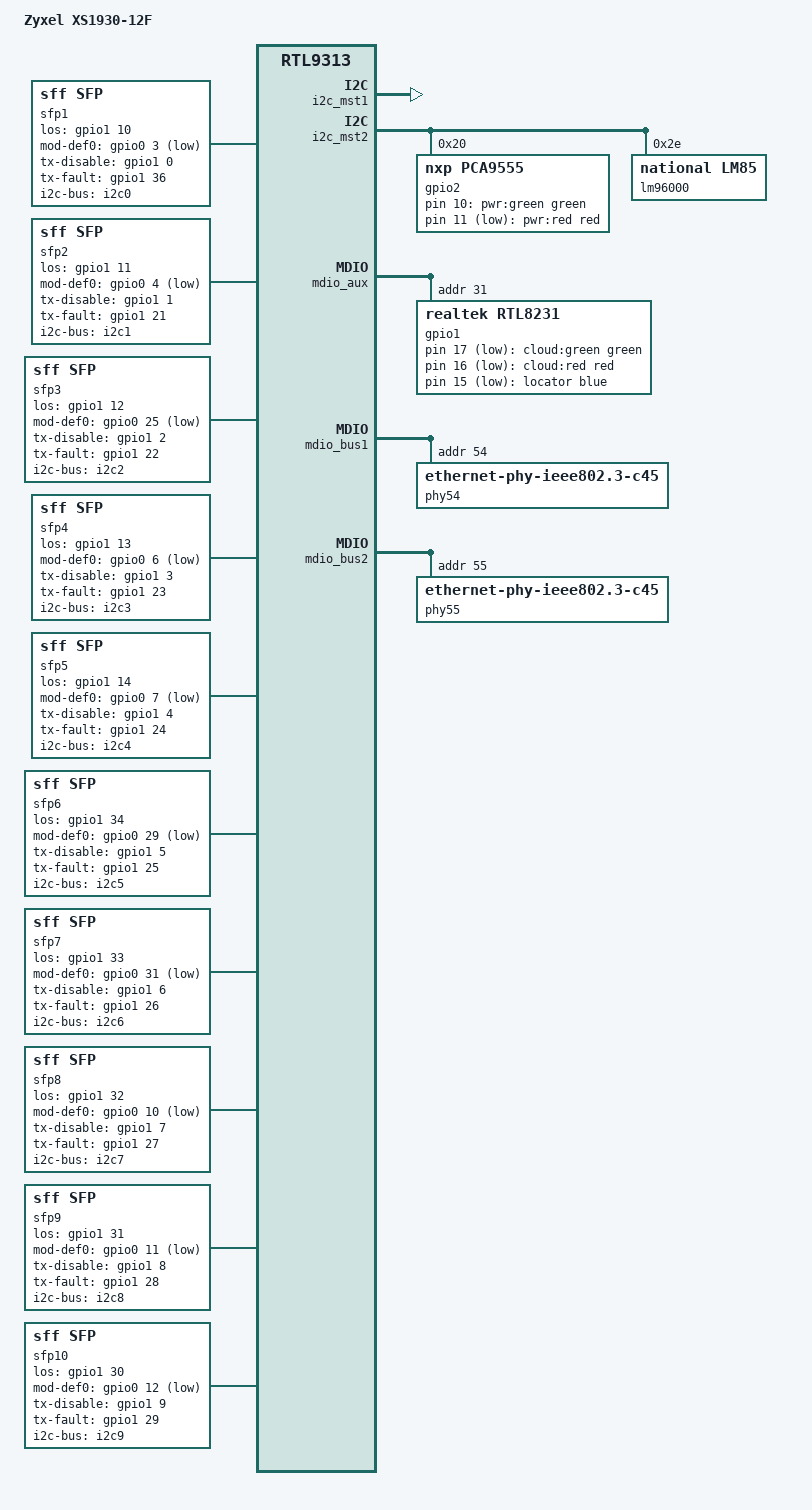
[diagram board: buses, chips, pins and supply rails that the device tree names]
// SPDX-License-Identifier: GPL-2.0-or-later
/dts-v1/;

#include "rtl9313_zyxel_xs1930.dtsi"

#include <dt-bindings/input/input.h>
#include <dt-bindings/gpio/gpio.h>
#include <dt-bindings/leds/common.h>
#include <dt-bindings/mux/mux.h>

/ {
	compatible = "zyxel,xs1930-12f", "realtek,rtl9313-soc";
	model = "Zyxel XS1930-12F";

	/*
	aliases {
		led-boot = &led_sys;
		led-failsafe = &led_sys;
		led-running = &led_sys;
		led-upgrade = &led_sys;
	};
	*/

	leds {
		compatible = "gpio-leds";
		pinctrl-names = "default";
		pinctrl-0 = <&pinmux_enable_sys_led>;

		led_pwr_green: led-0 {
			reg = <0>;
			color = <LED_COLOR_ID_GREEN>;
			default-state = "on";
			gpios = <&gpio2 10 GPIO_ACTIVE_HIGH>;
			label = "pwr:green";
		};
		led_pwr_red: led-1 {
			reg = <1>;
			color = <LED_COLOR_ID_RED>;
			gpios = <&gpio2 11 GPIO_ACTIVE_LOW>;
			label = "pwr:red";
		};
		/*led_sys_red: led-2 {
			reg = <2>;
			color = <LED_COLOR_ID_RED>;
			gpios = <&gpio0 30 GPIO_ACTIVE_LOW>;
			label = "sys:red";
		};
		led_sys_green: led-3 {
			reg = <3>;
			color = <LED_COLOR_ID_GREEN>;
			default-state = "on";
			function = LED_FUNCTION_ACTIVITY;
			gpios = <&gpio0 0 GPIO_ACTIVE_LOW>;
			label = "sys:green";
		};*/
		led_cloud_green: led-4 {
			reg = <4>;
			color = <LED_COLOR_ID_GREEN>;
			gpios = <&gpio1 17 GPIO_ACTIVE_LOW>;
			label = "cloud:green";
		};
		led_cloud_red: led-5 {
			reg = <5>;
			color = <LED_COLOR_ID_RED>;
			gpios = <&gpio1 16 GPIO_ACTIVE_LOW>;
			label = "cloud:red";
		};
		led_locator: led-6 {
			reg = <6>;
			color = <LED_COLOR_ID_BLUE>;
			function = LED_FUNCTION_INDICATOR;
			gpios = <&gpio1 15 GPIO_ACTIVE_LOW>;
			label = "locator";
		};
	};

	led_set: led_set@0 {
		compatible = "realtek,rtl9300-leds";
		active-low;

		/* SFP ports */
		led_set0 = <(RTL93XX_LED_SET_10G | RTL93XX_LED_SET_LINK | RTL93XX_LED_SET_ACT)
			    (RTL93XX_LED_SET_1G | RTL93XX_LED_SET_LINK | RTL93XX_LED_SET_ACT)>;
		/* Base-T ports */
		led_set1 = <(RTL93XX_LED_SET_10G | RTL93XX_LED_SET_5G | RTL93XX_LED_SET_2P5G | RTL93XX_LED_SET_LINK | RTL93XX_LED_SET_ACT)
			    (RTL93XX_LED_SET_2P5G | RTL93XX_LED_SET_1G | RTL93XX_LED_SET_100M | RTL93XX_LED_SET_LINK | RTL93XX_LED_SET_ACT)
			    (RTL93XX_LED_SET_5G | RTL93XX_LED_SET_100M | RTL93XX_LED_SET_LINK | RTL93XX_LED_SET_ACT)>;
	};

	sfp1: sfp-p1 {
		compatible = "sff,sfp";
		i2c-bus = <&i2c0>;
		los-gpio = <&gpio1 10 GPIO_ACTIVE_HIGH>;
		mod-def0-gpio = <&gpio0 3 GPIO_ACTIVE_LOW>;
		tx-disable-gpio = <&gpio1 0 GPIO_ACTIVE_HIGH>;
		tx-fault-gpio = <&gpio1 36 GPIO_ACTIVE_HIGH>;
	};

	sfp2: sfp-p2 {
		compatible = "sff,sfp";
		i2c-bus = <&i2c1>;
		los-gpio = <&gpio1 11 GPIO_ACTIVE_HIGH>;
		mod-def0-gpio = <&gpio0 4 GPIO_ACTIVE_LOW>;
		tx-disable-gpio = <&gpio1 1 GPIO_ACTIVE_HIGH>;
		tx-fault-gpio = <&gpio1 21 GPIO_ACTIVE_HIGH>;
	};

	sfp3: sfp-p3 {
		compatible = "sff,sfp";
		i2c-bus = <&i2c2>;
		los-gpio = <&gpio1 12 GPIO_ACTIVE_HIGH>;
		mod-def0-gpio = <&gpio0 25 GPIO_ACTIVE_LOW>;
		tx-disable-gpio = <&gpio1 2 GPIO_ACTIVE_HIGH>;
		tx-fault-gpio = <&gpio1 22 GPIO_ACTIVE_HIGH>;
	};

	sfp4: sfp-p4 {
		compatible = "sff,sfp";
		i2c-bus = <&i2c3>;
		los-gpio = <&gpio1 13 GPIO_ACTIVE_HIGH>;
		mod-def0-gpio = <&gpio0 6 GPIO_ACTIVE_LOW>;
		tx-disable-gpio = <&gpio1 3 GPIO_ACTIVE_HIGH>;
		tx-fault-gpio = <&gpio1 23 GPIO_ACTIVE_HIGH>;
	};

	sfp5: sfp-p5 {
		compatible = "sff,sfp";
		i2c-bus = <&i2c4>;
		los-gpio = <&gpio1 14 GPIO_ACTIVE_HIGH>;
		mod-def0-gpio = <&gpio0 7 GPIO_ACTIVE_LOW>;
		tx-disable-gpio = <&gpio1 4 GPIO_ACTIVE_HIGH>;
		tx-fault-gpio = <&gpio1 24 GPIO_ACTIVE_HIGH>;
	};

	sfp6: sfp-p6 {
		compatible = "sff,sfp";
		i2c-bus = <&i2c5>;
		los-gpio = <&gpio1 34 GPIO_ACTIVE_HIGH>;
		mod-def0-gpio = <&gpio0 29 GPIO_ACTIVE_LOW>;
		tx-disable-gpio = <&gpio1 5 GPIO_ACTIVE_HIGH>;
		tx-fault-gpio = <&gpio1 25 GPIO_ACTIVE_HIGH>;
	};

	sfp7: sfp-p7 {
		compatible = "sff,sfp";
		i2c-bus = <&i2c6>;
		los-gpio = <&gpio1 33 GPIO_ACTIVE_HIGH>;
		mod-def0-gpio = <&gpio0 31 GPIO_ACTIVE_LOW>;
		tx-disable-gpio = <&gpio1 6 GPIO_ACTIVE_HIGH>;
		tx-fault-gpio = <&gpio1 26 GPIO_ACTIVE_HIGH>;
	};

	sfp8: sfp-p8 {
		compatible = "sff,sfp";
		i2c-bus = <&i2c7>;
		los-gpio = <&gpio1 32 GPIO_ACTIVE_HIGH>;
		mod-def0-gpio = <&gpio0 10 GPIO_ACTIVE_LOW>;
		tx-disable-gpio = <&gpio1 7 GPIO_ACTIVE_HIGH>;
		tx-fault-gpio = <&gpio1 27 GPIO_ACTIVE_HIGH>;
	};

	sfp9: sfp-p9 {
		compatible = "sff,sfp";
		i2c-bus = <&i2c8>;
		los-gpio = <&gpio1 31 GPIO_ACTIVE_HIGH>;
		mod-def0-gpio = <&gpio0 11 GPIO_ACTIVE_LOW>;
		tx-disable-gpio = <&gpio1 8 GPIO_ACTIVE_HIGH>;
		tx-fault-gpio = <&gpio1 28 GPIO_ACTIVE_HIGH>;
	};

	sfp10: sfp-p10 {
		compatible = "sff,sfp";
		i2c-bus = <&i2c9>;
		los-gpio = <&gpio1 30 GPIO_ACTIVE_HIGH>;
		mod-def0-gpio = <&gpio0 12 GPIO_ACTIVE_LOW>;
		tx-disable-gpio = <&gpio1 9 GPIO_ACTIVE_HIGH>;
		tx-fault-gpio = <&gpio1 29 GPIO_ACTIVE_HIGH>;
	};
};

&gpio0 {
	pinctrl-names = "default";
	pinctrl-0 = <&pinmux_disable_jtag>,
		    <&pinmux_disable_led_sync>;
};

&i2c_mst1 {
	status = "okay";

	i2c0: i2c@0 {
		reg = <0>;
	};
	i2c1: i2c@1 {
		reg = <1>;
	};
	i2c2: i2c@2 {
		reg = <2>;
	};
	i2c3: i2c@3 {
		reg = <3>;
	};
	i2c4: i2c@4 {
		reg = <4>;
	};
	i2c5: i2c@5 {
		reg = <5>;
	};
};

&i2c_mst2 {
	status = "okay";

	i2c6: i2c@6 {
		reg = <6>;
	};
	i2c7: i2c@7 {
		reg = <7>;
	};
	i2c8: i2c@8 {
		reg = <8>;
	};
	i2c9: i2c@9 {
		reg = <9>;
	};

	i2c11: i2c@b {
		reg = <0xb>;

		gpio2: pca9555@20 {
			compatible = "nxp,pca9555";
			reg = <0x20>;
			gpio-controller;
			#gpio-cells = <2>;

			/* These GPIOs must be held low to activate SFP slots.
			 * Otherwise, neither power, signals nor I2C work.
			 */
			sfp_enable_hog {
				gpio-hog;
				gpios = <0 GPIO_ACTIVE_LOW>, /* SFP1 */
					<1 GPIO_ACTIVE_LOW>, /* SFP2 */
					<2 GPIO_ACTIVE_LOW>, /* SFP3 */
					<3 GPIO_ACTIVE_LOW>, /* SFP4 */
					<4 GPIO_ACTIVE_LOW>, /* SFP5 */
					<5 GPIO_ACTIVE_LOW>, /* SFP6 */
					<6 GPIO_ACTIVE_LOW>, /* SFP7 */
					<7 GPIO_ACTIVE_LOW>, /* SFP8 */
					<8 GPIO_ACTIVE_LOW>, /* SFP9 */
					<9 GPIO_ACTIVE_LOW>; /* SFP10 */
				output-high;
				line-name = "enable-sfp-slots";
			};
		};

		lm96000: lm96000@2e {
			compatible = "national,lm85";
			reg = <0x2e>;
		};
	};
};

&mdio_aux {
	status = "okay";

	gpio1: gpio@1f {
		compatible = "realtek,rtl8231";
		reg = <0x1f>;

		gpio-controller;
		#gpio-cells = <2>;
		gpio-ranges = <&gpio1 0 0 37>;

		led-controller {
			compatible = "realtek,rtl8231-leds";
			status = "disabled";
		};
	};
};

&mdio_ctrl {
	pinctrl-names = "default";
	pinctrl-0 = <&pinmux_enable_mdc_mdio_1>,
		    <&pinmux_enable_mdc_mdio_2>;
};

&mdio_bus1 {
	/* AQR113C */
	phy54: ethernet-phy@54 {
		reg = <54>;
		compatible = "ethernet-phy-ieee802.3-c45";
		realtek,smi-address = <0>;
	};
};

&mdio_bus2 {
	/* AQR113C */
	phy55: ethernet-phy@55 {
		reg = <55>;
		compatible = "ethernet-phy-ieee802.3-c45";
		realtek,smi-address = <8>;
	};
};

&switch0 {
	ports {
		#address-cells = <1>;
		#size-cells = <0>;

		port0: port@0 {
			reg = <0>;
			label = SWITCH_PORT_LABEL(1);
			led-set = <0>;
			pcs-handle = <&serdes2>;
			phy-mode = "1000base-x";
			managed = "in-band-status";
			sfp = <&sfp1>;
		};
		port8: port@8 {
			reg = <8>;
			label = SWITCH_PORT_LABEL(2);
			led-set = <0>;
			pcs-handle = <&serdes3>;
			phy-mode = "1000base-x";
			managed = "in-band-status";
			sfp = <&sfp2>;
		};
		port16: port@16 {
			reg = <16>;
			label = SWITCH_PORT_LABEL(3);
			led-set = <0>;
			pcs-handle = <&serdes4>;
			phy-mode = "1000base-x";
			managed = "in-band-status";
			sfp = <&sfp3>;
		};
		port24: port@24 {
			reg = <24>;
			label = SWITCH_PORT_LABEL(4);
			led-set = <0>;
			pcs-handle = <&serdes5>;
			phy-mode = "1000base-x";
			managed = "in-band-status";
			sfp = <&sfp4>;
		};
		port32: port@32 {
			reg = <32>;
			label = SWITCH_PORT_LABEL(5);
			led-set = <0>;
			pcs-handle = <&serdes6>;
			phy-mode = "1000base-x";
			managed = "in-band-status";
			sfp = <&sfp5>;
		};
		port40: port@40 {
			reg = <40>;
			label = SWITCH_PORT_LABEL(6);
			led-set = <0>;
			pcs-handle = <&serdes7>;
			phy-mode = "1000base-x";
			managed = "in-band-status";
			sfp = <&sfp6>;
		};
		port48: port@48 {
			reg = <48>;
			label = SWITCH_PORT_LABEL(7);
			led-set = <0>;
			pcs-handle = <&serdes8>;
			phy-mode = "1000base-x";
			managed = "in-band-status";
			sfp = <&sfp7>;
		};
		port50: port@50 {
			reg = <50>;
			label = SWITCH_PORT_LABEL(8);
			led-set = <0>;
			pcs-handle = <&serdes9>;
			phy-mode = "1000base-x";
			managed = "in-band-status";
			sfp = <&sfp8>;
		};
		port52: port@52 {
			reg = <52>;
			label = SWITCH_PORT_LABEL(9);
			led-set = <0>;
			pcs-handle = <&serdes10>;
			phy-mode = "1000base-x";
			managed = "in-band-status";
			sfp = <&sfp9>;
		};
		port53: port@53 {
			reg = <53>;
			label = SWITCH_PORT_LABEL(10);
			led-set = <0>;
			pcs-handle = <&serdes11>;
			phy-mode = "1000base-x";
			managed = "in-band-status";
			sfp = <&sfp10>;
		};

		/* Base-T ports */
		port@54 {
			reg = <54>;
			label = SWITCH_PORT_LABEL(11);
			led-set = <1>;
			pcs-handle = <&serdes12>;
			phy-handle = <&phy54>;
			phy-mode = "usxgmii";
		};
		port@55 {
			reg = <55>;
			label = SWITCH_PORT_LABEL(12);
			led-set = <1>;
			pcs-handle = <&serdes13>;
			phy-handle = <&phy55>;
			phy-mode = "usxgmii";
		};

		/* CPU port */
		port@56 {
			ethernet = <&ethernet0>;
			reg = <56>;
			phy-mode = "internal";
			fixed-link {
				speed = <1000>;
				full-duplex;
			};
		};
	};
};


&serdes2 {
	realtek,pnswap-tx;
};

&serdes3 {
	realtek,pnswap-tx;
};

&serdes4 {
	realtek,pnswap-tx;
};

&serdes5 {
	realtek,pnswap-tx;
};

&serdes6 {
	realtek,pnswap-tx;
};

&serdes7 {
	realtek,pnswap-tx;
};

&serdes8 {
	realtek,pnswap-tx;
};

&serdes9 {
	realtek,pnswap-tx;
};

&serdes10 {
	realtek,pnswap-tx;
};

&serdes11 {
	realtek,pnswap-tx;
};

